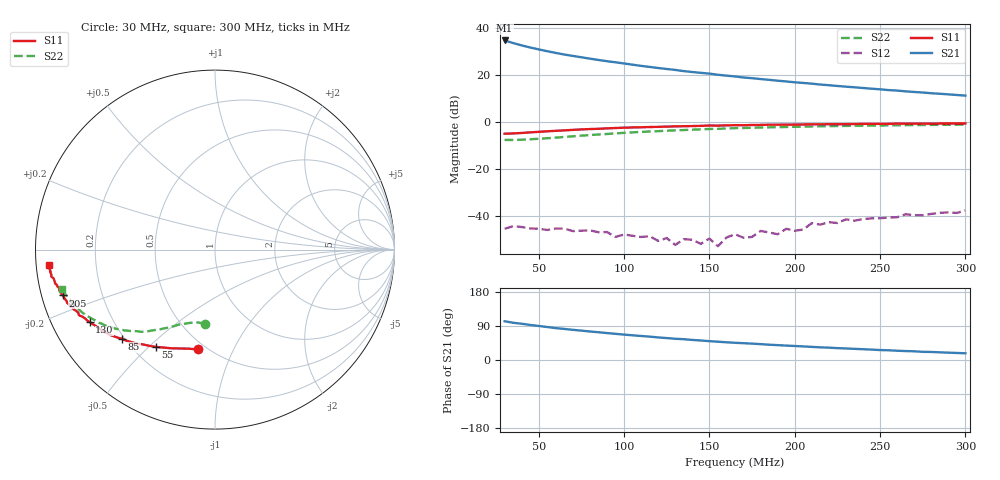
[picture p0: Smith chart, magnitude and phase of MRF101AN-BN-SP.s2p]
! Copyright - 2018 NXP B.V.
! 11/29/2018
! Rev 0
! MRF101AN/BN S-Parameters
! Vdd=50V, IDQ=1000mA
# hz S ma R 50
! Comment
! freq  magS11  angS11  magS21  angS21  magS12  angS12  magS22  angS22
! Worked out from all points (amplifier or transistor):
!   55 points, 30 MHz to 300 MHz, reference 50 ohm
!   highest |S21| = 34.5 dB at 30 MHz (marker M1)
!   |S21| within 3 dB of that: start of sweep to 45.07 MHz
!   unconditionally stable (mu >= 1): 40 MHz to 203.5 MHz
!   at 75 MHz: K = 1.34, MAG = 33.2 dB, |S12| = -46.0 dB
!   at 165 MHz: K = 1.26, MAG = 30.3 dB, |S12| = -47.5 dB
!   at 300 MHz: K = 0.38, MSG = 24.3 dB, |S12| = -37.4 dB
!   S11 on the Smith chart (normalised r, x): 30 MHz: 0.45, -0.74; 55 MHz: 0.29, -0.52; 85 MHz: 0.19, -0.39; 130 MHz: 0.11, -0.27; 205 MHz: 0.06, -0.15; 300 MHz: 0.04, -0.05
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3e7  0.5642 -99.7  53.21 102.2  0.005476 28.8  0.4166 -97.7
3.5e7  0.5721 -105.4  46.84 98.3  0.006223 18.1  0.4162 -102.2
4e7  0.5854 -109.7  41.87 95.6  0.005979 15.4  0.4212 -105.4
4.5e7  0.6029 -114.3  37.72 92.5  0.00557 18.1  0.4295 -108.3
5.5e7  0.6352 -121.4  31.47 87.0  0.005172 11.8  0.4531 -113.8
6e7  0.6498 -124.4  28.94 84.2  0.005545 10.4  0.4656 -116.0
6.5e7  0.6638 -127.3  26.78 82.0  0.005521 9.5  0.482 -118.0
7.5e7  0.6952 -132.1  23.41 77.5  0.004991 16.7  0.5131 -121.7
8.5e7  0.7176 -136.1  20.56 73.3  0.004626 22.1  0.5432 -124.9
9e7  0.7321 -138.0  19.36 71.0  0.004663 7.4  0.5569 -126.5
1.05e8  0.7659 -143.1  16.35 65.1  0.003886 34.9  0.6034 -130.7
1.2e8  0.7882 -147.3  13.89 59.5  0.003029 25.5  0.6395 -134.8
1.3e8  0.8064 -149.9  12.65 56.0  0.002499 21.8  0.6658 -137.3
1.4e8  0.8195 -152.1  11.42 52.9  0.003212 49.0  0.6863 -139.6
1.55e8  0.8387 -155.2  9.995 48.3  0.002347 66.9  0.7166 -142.7
1.65e8  0.8554 -157.1  9.205 45.4  0.004203 71.1  0.7385 -144.8
1.85e8  0.8753 -160.2  7.805 40.4  0.004568 80.3  0.7694 -148.6
2.05e8  0.8853 -163.2  6.702 35.8  0.005283 86.2  0.7975 -152.0
2.1e8  0.8919 -164.0  6.477 34.6  0.007217 92.2  0.8067 -152.9
2.25e8  0.8943 -166.1  5.786 31.3  0.007267 85.2  0.8222 -155.2
2.55e8  0.9135 -169.9  4.732 25.6  0.009428 94.5  0.8487 -159.4
3e8  0.9297 -174.8  3.615 17.7  0.01344 94.7  0.8781 -165.4
